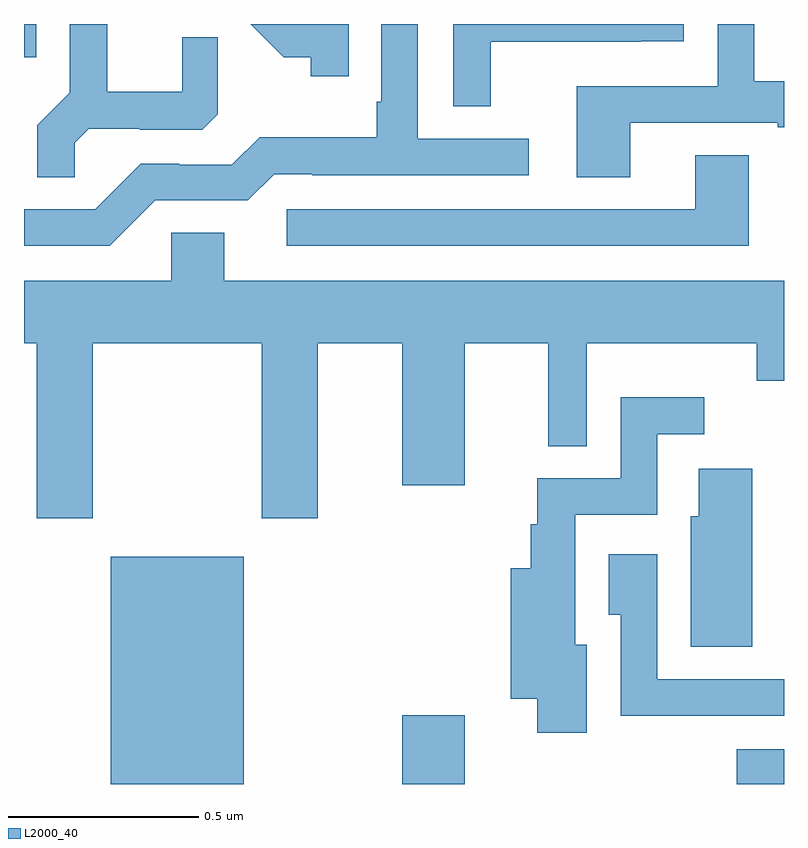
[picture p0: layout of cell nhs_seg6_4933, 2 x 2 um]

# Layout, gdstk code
import gdstk
lib = gdstk.Library(unit=1e-6, precision=1e-09)
def R(c, l, rs):  # rectangles x0, y0, x1, y1
    for r in rs: c.add(gdstk.rectangle(r[:2], r[2:], *l))
def P(c, l, *ps):  # polygons
    for p in ps: c.add(gdstk.Polygon(p, *l))
L2000_40 = (2000, 40)

nhs_seg6_4933 = lib.new_cell('nhs_seg6_4933')
R(nhs_seg6_4933, L2000_40, [(176.228,955.5,176.578,956.098), (176.996,955.5,177.16,955.681), (177.875,955.5,178,955.591), (176,957.413,176.032,957.5)])
P(nhs_seg6_4933, L2000_40, [(177.228,957.453),(177.623,957.453),(177.623,957.454),(177.736,957.454),(177.736,957.5),(177.129,957.5),(177.129,957.283),(177.228,957.283)],
  [(176.133,957.188),(176.17,957.225),(176.304,957.225),(176.304,957.222),(176.469,957.222),(176.51,957.263),(176.51,957.465),(176.416,957.465),(176.416,957.322),(176.219,957.322),(176.219,957.5),(176.121,957.5),(176.121,957.319),(176.035,957.233),(176.035,957.097),(176.133,957.097)],
  [(176.346,957.036),(176.589,957.036),(176.658,957.105),(176.758,957.105),(176.758,957.102),(177.328,957.102),(177.328,957.198),(177.036,957.198),(177.036,957.5),(176.94,957.5),(176.94,957.295),(176.928,957.295),(176.928,957.202),(176.62,957.202),(176.547,957.129),(176.408,957.129),(176.408,957.132),(176.307,957.132),(176.187,957.012),(176,957.012),(176,956.916),(176.226,956.916)],
  [(176.855,957.5),(176.597,957.5),(176.684,957.413),(176.754,957.413),(176.754,957.363),(176.855,957.363)],
  [(177.595,957.24),(177.983,957.24),(177.983,957.228),(178,957.228),(178,957.349),(177.922,957.349),(177.922,957.5),(177.825,957.5),(177.825,957.336),(177.455,957.336),(177.455,957.097),(177.595,957.097)],
  [(177.907,957.155),(177.767,957.155),(177.767,957.012),(176.691,957.012),(176.691,956.916),(177.907,956.916)],
  [(176.181,956.66),(176.626,956.66),(176.626,956.199),(176.773,956.199),(176.773,956.66),(176.996,956.66),(176.996,956.286),(177.16,956.286),(177.16,956.66),(177.38,956.66),(177.38,956.389),(177.481,956.389),(177.481,956.66),(177.928,956.66),(177.928,956.561),(178,956.561),(178,956.824),(176.527,956.824),(176.527,956.951),(176.388,956.951),(176.388,956.824),(176,956.824),(176,956.66),(176.033,956.66),(176.033,956.199),(176.181,956.199)],
  [(177.481,955.867),(177.451,955.867),(177.451,956.208),(177.666,956.208),(177.666,956.421),(177.79,956.421),(177.79,956.518),(177.57,956.518),(177.57,956.304),(177.35,956.304),(177.35,956.183),(177.333,956.183),(177.333,956.068),(177.281,956.068),(177.281,955.724),(177.35,955.724),(177.35,955.635),(177.481,955.635)],
  [(177.916,956.329),(177.776,956.329),(177.776,956.205),(177.755,956.205),(177.755,955.861),(177.916,955.861)],
  [(177.791,955.68),(178,955.68),(178,955.776),(177.666,955.776),(177.666,956.104),(177.539,956.104),(177.539,955.945),(177.57,955.945),(177.57,955.679),(177.791,955.679)])

lib.write_gds('nhs_seg6_4933.gds')
